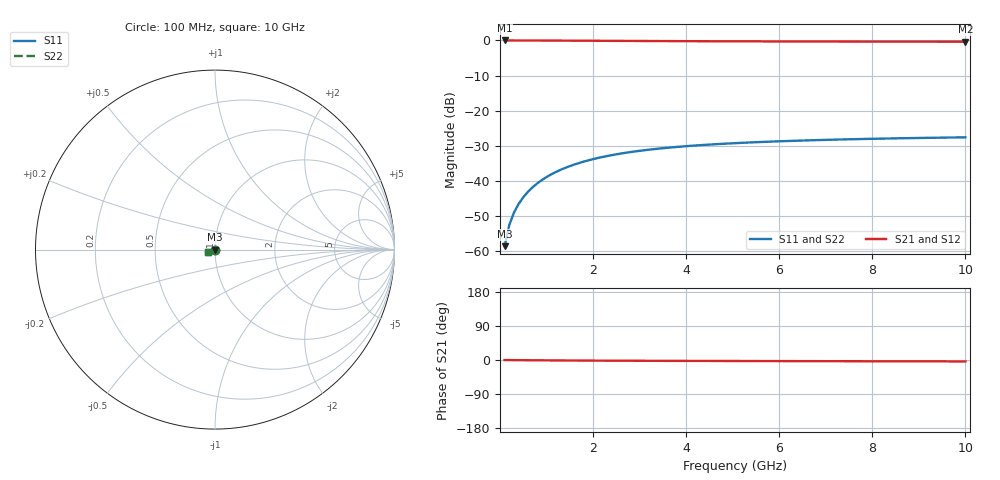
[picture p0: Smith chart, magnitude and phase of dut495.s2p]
! Touchstone file exported from HFSS 2024.1.0
!  File:  C:/UserFiles/LocalFiles/RDL_TSV_Batchsim/temp_TSV1_495_1779700930.aedt
!  Generated:  05:27:00 PM May 25, 2026
!  Design:  TSV1
!  Project:  temp_TSV1_495_1779700930
!  Setup:  Setup1
!  Solution:  Sweep
! Variables:
!  dtsv = 13.7um
!  hbump = 3um
!  htsv = 54.51um
!  lrdl = 252.1521522um
!  p = 40
!  p1 = 47.64um
!  t = 500um
!  trdl = 3um
!  wrdl = 24.89489489um
# GHz S MA R 50.000000
! Terminal data exported
! Port[1] = TSV22_T1
! Port[2] = TSV22_T2
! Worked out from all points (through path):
!   100 points, 100 MHz to 10 GHz, reference 50 ohm
!   highest |S21| = 0.00 dB at 100 MHz (marker M1); lowest = -0.4 dB at 10 GHz (marker M2)
!   lowest |S11| = -58.6 dB at 100 MHz (marker M3), VSWR 1.00, Z = 50 - j0.117 ohm
!   |S11| at or under -10 dB: start of sweep to end of sweep
!   |S22| runs from -58.6 to -27.6 dB; largest |S21 - S12| = 2.1e-15
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0.1  0.001174 -88.2  0.9999 -0.1  0.9999 -0.1  0.001174 -88.2
! Gamma 0 0 0 0
! Port Impedance 50 0 50 0
0.2  0.002345 -91.8  0.9998 -0.2  0.9998 -0.2  0.002345 -91.8
0.3  0.003514 -94.0  0.9996 -0.3  0.9996 -0.3  0.003514 -94.0
0.4  0.004677 -96.0  0.9994 -0.4  0.9994 -0.4  0.004677 -96.0
0.5  0.005829 -97.7  0.999 -0.5  0.999 -0.5  0.005829 -97.7
0.6  0.006966 -99.5  0.9987 -0.6  0.9987 -0.6  0.006966 -99.5
0.7  0.008087 -101.1  0.9982 -0.7  0.9982 -0.7  0.008086 -101.1
0.8  0.009187 -102.7  0.9978 -0.8  0.9978 -0.8  0.009187 -102.7
0.9  0.01027 -104.3  0.9972 -0.9  0.9972 -0.9  0.01027 -104.3
1.1  0.01235 -107.4  0.996 -1.0  0.996 -1.0  0.01235 -107.4
1.4  0.01528 -111.7  0.994 -1.2  0.994 -1.2  0.01528 -111.7
1.6  0.0171 -114.5  0.9926 -1.4  0.9926 -1.4  0.0171 -114.5
1.8  0.0188 -117.1  0.9912 -1.5  0.9912 -1.5  0.0188 -117.1
2.1  0.02113 -120.8  0.9889 -1.7  0.9889 -1.7  0.02113 -120.8
2.5  0.02388 -125.2  0.9861 -1.9  0.9861 -1.9  0.02388 -125.2
2.9  0.02623 -129.1  0.9833 -2.0  0.9833 -2.0  0.02623 -129.1
3.4  0.02872 -133.4  0.9802 -2.2  0.9802 -2.2  0.02872 -133.4
4.2  0.03188 -139.2  0.9758 -2.5  0.9758 -2.5  0.03188 -139.2
5.1  0.03455 -144.4  0.9717 -2.7  0.9717 -2.7  0.03455 -144.4
6.7  0.03787 -151.5  0.9664 -3.0  0.9664 -3.0  0.03787 -151.5
8.4  0.04019 -157.1  0.9626 -3.4  0.9626 -3.4  0.04019 -157.1
10  0.04169 -161.3  0.9601 -3.8  0.9601 -3.8  0.04169 -161.3
